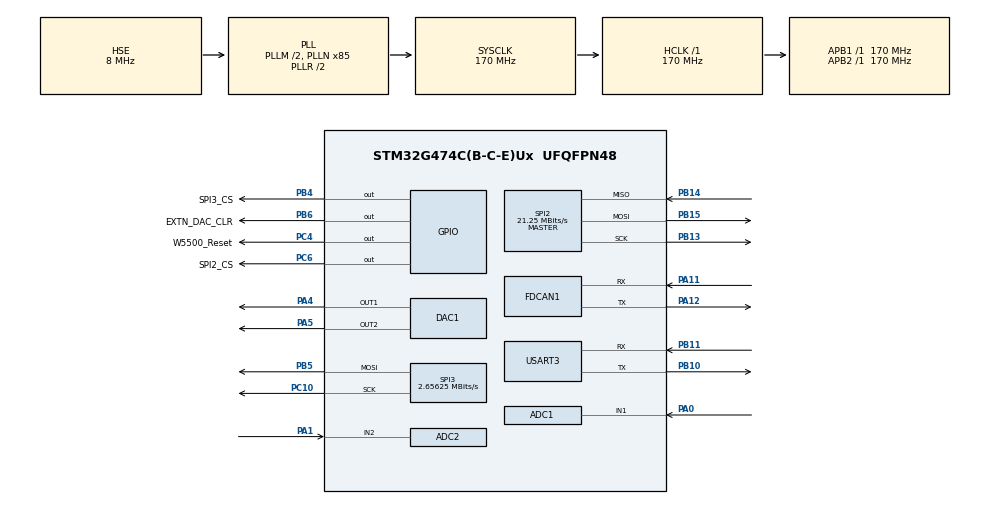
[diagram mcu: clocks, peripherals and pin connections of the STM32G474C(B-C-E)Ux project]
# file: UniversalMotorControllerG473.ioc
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ADC1.Channel-0\#ChannelRegularConversion=ADC_CHANNEL_1
ADC1.ClockPrescaler=ADC_CLOCK_ASYNC_DIV256
ADC1.ContinuousConvMode=ENABLE
ADC1.EOCSelection=ADC_EOC_SEQ_CONV
ADC1.NbrOfConversionFlag=1
ADC1.OffsetNumber-0\#ChannelRegularConversion=ADC_OFFSET_NONE
ADC1.Rank-0\#ChannelRegularConversion=1
ADC1.SamplingTime-0\#ChannelRegularConversion=ADC_SAMPLETIME_12CYCLES_5
ADC1.master=1
ADC2.Channel-0\#ChannelRegularConversion=ADC_CHANNEL_2
ADC2.ClockPrescaler=ADC_CLOCK_ASYNC_DIV256
ADC2.ContinuousConvMode=ENABLE
ADC2.DMAContinuousRequests=DISABLE
ADC2.EOCSelection=ADC_EOC_SEQ_CONV
ADC2.NbrOfConversionFlag=1
ADC2.OffsetNumber-0\#ChannelRegularConversion=ADC_OFFSET_NONE
ADC2.Rank-0\#ChannelRegularConversion=1
ADC2.SamplingTime-0\#ChannelRegularConversion=ADC_SAMPLETIME_12CYCLES_5
DAC1.DAC_Channel-DAC_OUT2=DAC_CHANNEL_2
Dma.ADC1.1.Direction=DMA_PERIPH_TO_MEMORY
Dma.ADC1.1.EventEnable=DISABLE
Dma.ADC1.1.Instance=DMA1_Channel2
Dma.ADC1.1.MemDataAlignment=DMA_MDATAALIGN_HALFWORD
Dma.ADC1.1.MemInc=DMA_MINC_ENABLE
Dma.ADC1.1.Mode=DMA_NORMAL
Dma.ADC1.1.PeriphDataAlignment=DMA_PDATAALIGN_HALFWORD
Dma.ADC1.1.PeriphInc=DMA_PINC_DISABLE
Dma.ADC1.1.Polarity=HAL_DMAMUX_REQ_GEN_RISING
Dma.ADC1.1.Priority=DMA_PRIORITY_LOW
Dma.ADC1.1.RequestNumber=1
Dma.ADC1.1.SignalID=NONE
Dma.ADC1.1.SyncEnable=DISABLE
Dma.ADC1.1.SyncPolarity=HAL_DMAMUX_SYNC_NO_EVENT
Dma.ADC1.1.SyncRequestNumber=1
Dma.ADC1.1.SyncSignalID=NONE
Dma.ADC2.0.Direction=DMA_PERIPH_TO_MEMORY
Dma.ADC2.0.EventEnable=ENABLE
Dma.ADC2.0.Instance=DMA1_Channel1
Dma.ADC2.0.MemDataAlignment=DMA_MDATAALIGN_HALFWORD
Dma.ADC2.0.MemInc=DMA_MINC_ENABLE
Dma.ADC2.0.Mode=DMA_NORMAL
Dma.ADC2.0.PeriphDataAlignment=DMA_PDATAALIGN_HALFWORD
Dma.ADC2.0.PeriphInc=DMA_PINC_DISABLE
Dma.ADC2.0.Polarity=HAL_DMAMUX_REQ_GEN_RISING
Dma.ADC2.0.Priority=DMA_PRIORITY_MEDIUM
Dma.ADC2.0.RequestNumber=1
Dma.ADC2.0.SignalID=NONE
Dma.ADC2.0.SyncEnable=DISABLE
Dma.ADC2.0.SyncPolarity=HAL_DMAMUX_SYNC_NO_EVENT
Dma.ADC2.0.SyncRequestNumber=1
Dma.ADC2.0.SyncSignalID=NONE
Dma.Request0=ADC2
Dma.Request1=ADC1
FDCAN1.AutoRetransmission=ENABLE
FDCAN1.CalculateBaudRateNominal=999999
FDCAN1.CalculateTimeBitNominal=1000
FDCAN1.CalculateTimeQuantumNominal=5.882352941176471
FDCAN1.DataPrescaler=10
FDCAN1.DataSyncJumpWidth=4
FDCAN1.DataTimeSeg1=12
FDCAN1.DataTimeSeg2=4
FDCAN1.FrameFormat=FDCAN_FRAME_FD_NO_BRS
FDCAN1.NominalPrescaler=1
FDCAN1.NominalSyncJumpWidth=26
FDCAN1.NominalTimeSeg1=143
FDCAN1.NominalTimeSeg2=26
FDCAN1.StdFiltersNbr=1
FREERTOS.Queues01=QueueMonitoring,16,uint32_t,0,Dynamic,NULL,NULL
FREERTOS.Tasks01=TaskMonitoring,15,512,RunTaskMonitoring,Default,NULL,Dynamic,NULL,NULL;TaskControl,40,512,RunTaskControl,Default,NULL,Dynamic,NULL,NULL;TaskMeasure,24,512,RunTaskMeasure,Default,NULL,Dynamic,NULL,NULL
FREERTOS.configENABLE_FPU=1
FREERTOS.configMINIMAL_STACK_SIZE=512
FREERTOS.configTOTAL_HEAP_SIZE=18000
FREERTOS.configUSE_NEWLIB_REENTRANT=1
Mcu.Family=STM32G4
Mcu.Name=STM32G474C(B-C-E)Ux
Mcu.Package=UFQFPN48
NVIC.ADC1_2_IRQn=true\:5\:0\:false\:false\:true\:true\:true\:true\:true
NVIC.DMA1_Channel1_IRQn=true\:5\:0\:false\:false\:true\:true\:false\:true\:true
NVIC.DMA1_Channel2_IRQn=true\:5\:0\:false\:false\:true\:true\:false\:true\:true
NVIC.DMAMUX_OVR_IRQn=true\:5\:0\:false\:false\:true\:true\:false\:true\:true
NVIC.FDCAN1_IT0_IRQn=true\:5\:0\:false\:false\:true\:true\:true\:true\:true
NVIC.FDCAN1_IT1_IRQn=true\:5\:0\:false\:false\:true\:true\:true\:true\:true
NVIC.PriorityGroup=NVIC_PRIORITYGROUP_4
NVIC.SPI2_IRQn=true\:5\:0\:false\:false\:true\:true\:true\:true\:true
NVIC.SPI3_IRQn=true\:5\:0\:false\:false\:true\:true\:true\:true\:true
NVIC.TIM1_UP_TIM16_IRQn=true\:5\:0\:false\:false\:true\:true\:true\:true\:true
NVIC.TIM6_DAC_IRQn=true\:5\:0\:false\:false\:true\:true\:true\:true\:true
NVIC.TIM7_DAC_IRQn=true\:15\:0\:false\:false\:true\:false\:false\:true\:true
NVIC.TimeBase=TIM7_DAC_IRQn
NVIC.TimeBaseIP=TIM7
NVIC.USART3_IRQn=true\:5\:0\:false\:false\:true\:true\:true\:true\:true
PA0.Mode=IN1-Single-Ended
PA0.Signal=ADC1_IN1
PA1.Mode=IN2-Single-Ended
PA1.Signal=ADC2_IN2
PA11.Mode=FDCAN_Activate
PA11.Signal=FDCAN1_RX
PA12.Mode=FDCAN_Activate
PA12.Signal=FDCAN1_TX
PA4.Signal=COMP_DAC11_group
PA5.Signal=COMP_DAC12_group
PB10.Mode=Asynchronous
PB10.Signal=USART3_TX
PB11.Mode=Asynchronous
PB11.Signal=USART3_RX
PB13.Mode=Full_Duplex_Master
PB13.Signal=SPI2_SCK
PB14.Mode=Full_Duplex_Master
PB14.Signal=SPI2_MISO
PB15.Mode=Full_Duplex_Master
PB15.Signal=SPI2_MOSI
PB4.GPIO_Label=SPI3_CS
PB4.Signal=GPIO_Output
PB5.Mode=TX_Only_Simplex_Unidirect_Master
PB5.Signal=SPI3_MOSI
PB6.GPIO_Label=EXTN_DAC_CLR
PB6.Signal=GPIO_Output
PC10.Mode=TX_Only_Simplex_Unidirect_Master
PC10.Signal=SPI3_SCK
PC4.GPIO_Label=W5500_Reset
PC4.Signal=GPIO_Output
PC6.GPIO_Label=SPI2_CS
PC6.Signal=GPIO_Output
PF0-OSC_IN.Mode=HSE-External-Oscillator
PF0-OSC_IN.Signal=RCC_OSC_IN
PF1-OSC_OUT.Mode=HSE-External-Oscillator
PF1-OSC_OUT.Signal=RCC_OSC_OUT
ProjectManager.HeapSize=0x800
ProjectManager.StackSize=0x1600
ProjectManager.TargetToolchain=STM32CubeIDE
RCC.ADC12Freq_Value=170000000
RCC.ADC345Freq_Value=170000000
RCC.AHBFreq_Value=170000000
RCC.APB1Freq_Value=170000000
RCC.APB1TimFreq_Value=170000000
RCC.APB2Freq_Value=170000000
RCC.APB2TimFreq_Value=170000000
RCC.CortexFreq_Value=170000000
RCC.EXTERNAL_CLOCK_VALUE=12288000
RCC.HCLKFreq_Value=170000000
RCC.HSE_VALUE=8000000
RCC.HSI48_VALUE=48000000
RCC.HSI_VALUE=16000000
RCC.LSE_VALUE=32768
RCC.PLLM=RCC_PLLM_DIV2
RCC.PLLN=85
RCC.PLLSourceVirtual=RCC_PLLSOURCE_HSE
RCC.SYSCLKFreq_VALUE=170000000
RCC.SYSCLKSource=RCC_SYSCLKSOURCE_PLLCLK
RCC.USBFreq_Value=170000000
RCC.VCOOutputFreq_Value=340000000
SH.COMP_DAC11_group.0=DAC1_OUT1,DAC_OUT1
SH.COMP_DAC12_group.0=DAC1_OUT2,DAC_OUT2
SPI2.BaudRatePrescaler=SPI_BAUDRATEPRESCALER_8
SPI2.CalculateBaudRate=21.25 MBits/s
SPI2.DataSize=SPI_DATASIZE_8BIT
SPI2.Direction=SPI_DIRECTION_2LINES
SPI2.Mode=SPI_MODE_MASTER
SPI2.VirtualType=VM_MASTER
SPI3.BaudRatePrescaler=SPI_BAUDRATEPRESCALER_64
SPI3.CLKPhase=SPI_PHASE_2EDGE
SPI3.CalculateBaudRate=2.65625 MBits/s
SPI3.DataSize=SPI_DATASIZE_8BIT
SPI3.Direction=SPI_DIRECTION_2LINES
SPI3.Mode=SPI_MODE_MASTER
SPI3.VirtualType=VM_MASTER
STMicroelectronics.X-CUBE-ALGOBUILD.1.4.0.LibraryCcDSPOoLibraryJjDSPOoLibrary=true
TIM1.AutoReloadPreload=TIM_AUTORELOAD_PRELOAD_ENABLE
TIM1.PeriodNoDither=10-1
TIM1.Prescaler=17
TIM1.TIM_MasterOutputTrigger=TIM_TRGO_UPDATE
TIM1.TIM_MasterOutputTrigger2=TIM_TRGO2_RESET
TIM6.AutoReloadPreload=TIM_AUTORELOAD_PRELOAD_ENABLE
TIM6.PeriodNoDither=1000 - 1
TIM6.Prescaler=10
TIM6.TIM_MasterOutputTrigger=TIM_TRGO_UPDATE
USART3.VirtualMode-Asynchronous=VM_ASYNC
VP_FREERTOS_VS_CMSIS_V2.Mode=CMSIS_V2
VP_STMicroelectronics.X-CUBE-ALGOBUILD_VS_DSPOoLibraryJjLibrary_1.4.0_1.4.0.Mode=DSPOoLibraryJjLibrary
VP_SYS_VS_DBSignals.Mode=DisableDeadBatterySignals
VP_SYS_VS_tim7.Mode=TIM7
VP_TIM1_VS_ClockSourceINT.Mode=Internal
VP_TIM4_VS_ClockSourceINT.Mode=Internal
VP_TIM6_VS_ClockSourceINT.Mode=Enable_Timer
board=custom

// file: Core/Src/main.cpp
/* USER CODE BEGIN Header */

/**
  ******************************************************************************
  * @file           : main.c
  * @brief          : Main program body
  ******************************************************************************
  * @attention
  *
  * Copyright (c) 2024 STMicroelectronics.
  * All rights reserved.
  *
  * This software is licensed under terms that can be found in the LICENSE file
  * in the root directory of this software component.
  * If no LICENSE file comes with this software, it is provided AS-IS.
  *
  ******************************************************************************
  */
/* USER CODE END Header */
#include "main.h"
#include "cmsis_os.h"

/* USER CODE BEGIN Includes */
#include "UtiliteFunctions.h"
//#include <cstring>
//#include <cstdio>
extern "C"
{
#include "socket.h"
#include "string.h"
#include "W5500/w5500.h"
}
#include <cmath>
#include <vector>
#include <array>

#include "DeviceSignalInterfaces.h"
#include "ControlClassesInternal.h"

#include "TCPInterface.h"
#include "AimingModules.h"
/* USER CODE END Includes */

/* USER CODE BEGIN PM */

//template<typename V, typename DEV_T, int N_C = 1>
/* USER CODE END PM */

ADC_HandleTypeDef hadc1;
ADC_HandleTypeDef hadc2;
DMA_HandleTypeDef hdma_adc1;
DMA_HandleTypeDef hdma_adc2;

DAC_HandleTypeDef hdac1;

FDCAN_HandleTypeDef hfdcan1;

SPI_HandleTypeDef hspi2;
SPI_HandleTypeDef hspi3;

TIM_HandleTypeDef htim1;
TIM_HandleTypeDef htim4;
TIM_HandleTypeDef htim6;

UART_HandleTypeDef huart3;

/* Definitions for TaskMonitoring */
osThreadId_t TaskMonitoringHandle;
const osThreadAttr_t TaskMonitoring_attributes = {
  .name = "TaskMonitoring",
  .stack_size = 512 * 4,
  .priority = (osPriority_t) osPriorityLow7
};
/* Definitions for TaskControl */
osThreadId_t TaskControlHandle;
const osThreadAttr_t TaskControl_attributes = {
  .name = "TaskControl",
  .stack_size = 512 * 4,
  .priority = (osPriority_t) osPriorityHigh
};
/* Definitions for TaskMeasure */
osThreadId_t TaskMeasureHandle;
const osThreadAttr_t TaskMeasure_attributes = {
  .name = "TaskMeasure",
  .stack_size = 512 * 4,
  .priority = (osPriority_t) osPriorityNormal
};
/* Definitions for QueueMonitoring */
osMessageQueueId_t QueueMonitoringHandle;
const osMessageQueueAttr_t QueueMonitoring_attributes = {
  .name = "QueueMonitoring"
};
/* USER CODE BEGIN PV */

osMessageQueueId_t QueueMessageCalibrationHandle;
const osMessageQueueAttr_t QueueMessageCalibration_attributes = {
  .name = "QueueMessageCalibration"
};

osMessageQueueId_t QueueMessagePositionStateHandle;
const osMessageQueueAttr_t QueueMessagePositionState_attributes = {
  .name = "QueueMessagePosition"
};

std::map<SPI_TypeDef*,bool*> FlagSwitchersSPI;
std::map<ADC_TypeDef*,DeviceTypeADC<1>::StateSwitcher*> StateSwitchersADC;

std::map<FDCAN_HandleTypeDef*,bool*> FlagSwitrchersCAN;

//===============================
//FDCAN TEST
//FDCAN_TxHeaderTypeDef   CanTxHeader;  //TO_DELTE
//FDCAN_RxHeaderTypeDef   CanRxHeader;  //TO_DELTE
//uint8_t               CanTxData[64];  //TO_DELTE
//uint8_t               CanRxData[64];  //TO_DELTE

//==========================================================================================
class CanConnectionInterface
{
public:
	explicit CanConnectionInterface(FDCAN_HandleTypeDef* CanDevice)
	{
		Device = CanDevice;
		initTransmit();
	}
FDCAN_TxHeaderTypeDef   CanTxHeader;
FDCAN_RxHeaderTypeDef   CanRxHeader;
uint8_t               CanTxData[8];
uint8_t               CanRxData[8];
FDCAN_HandleTypeDef* Device = nullptr;
bool FLAG_CAN_DATA_AVAILABLE = false;

int Result = 0;
CanConnectionInterface* connectionLinked = nullptr;
void linkModule(CanConnectionInterface* connection) { connectionLinked = connection; }

void initTransmit()
{
  CanTxHeader.Identifier = 0x1;
  CanTxHeader.IdType      = FDCAN_STANDARD_ID;
  CanTxHeader.TxFrameType = FDCAN_DATA_FRAME;
  CanTxHeader.DataLength  = FDCAN_DLC_BYTES_8;
  CanTxHeader.ErrorStateIndicator = FDCAN_ESI_ACTIVE;
  CanTxHeader.BitRateSwitch       = FDCAN_BRS_OFF;
  CanTxHeader.FDFormat            = FDCAN_CLASSIC_CAN;
  CanTxHeader.TxEventFifoControl  = FDCAN_NO_TX_EVENTS;
  CanTxHeader.MessageMarker = 0;
}

std::array<uint32_t,8> DLC_VECTOR = {FDCAN_DLC_BYTES_1, FDCAN_DLC_BYTES_2, FDCAN_DLC_BYTES_3, FDCAN_DLC_BYTES_4, FDCAN_DLC_BYTES_5, FDCAN_DLC_BYTES_6, FDCAN_DLC_BYTES_7, FDCAN_DLC_BYTES_8};
void sendData(uint8_t ID, uint8_t Size, uint8_t* Data)
{
  CanTxHeader.Identifier = ID;
  CanTxHeader.DataLength = DLC_VECTOR[Size-1];
  CanTxHeader.MessageMarker = 0;

  std::copy_n(Data, Size, CanTxData);
  Result = HAL_FDCAN_AddMessageToTxFifoQ(Device, &CanTxHeader, CanTxData);
  //Result = HAL_FDCAN_AddMessageToTxFifoQ(Device, &CanTxHeader, Data);
}

void receiveData()
{
	if(!FLAG_CAN_DATA_AVAILABLE) return; FLAG_CAN_DATA_AVAILABLE = false;
	HAL_FDCAN_GetRxMessage(Device, FDCAN_RX_FIFO0, &CanRxHeader, CanRxData);

	if(CanRxHeader.Identifier == TypeRegister<CommandSetPos<0>>::GetTypeID())
      CommandDispatcher<CommandSetPos<0>>::processDispatch((CommandSetPos<0>*)CanRxData);

	if(CanRxHeader.Identifier == TypeRegister<CommandSetPos<1>>::GetTypeID())
      CommandDispatcher<CommandSetPos<1>>::processDispatch((CommandSetPos<1>*)CanRxData);

	if(CanRxHeader.Identifier == TypeRegister<CommandDevice<0>>::GetTypeID())
      CommandDispatcher<CommandDevice<0>>::processDispatch((CommandDevice<0>*)CanRxData);

	if(CanRxHeader.Identifier == TypeRegister<CommandSetPosRotary>::GetTypeID())
      CommandDispatcher<CommandCheckConnection>::processDispatch((CommandCheckConnection*)CanRxData);
}

void transmitData()
{
	if(!FLAG_CAN_DATA_AVAILABLE) return; FLAG_CAN_DATA_AVAILABLE = false;

	HAL_FDCAN_GetRxMessage(Device, FDCAN_RX_FIFO0, &CanRxHeader, CanRxData);

	if(connectionLinked != nullptr) connectionLinked->sendData(CanRxHeader.Identifier, CanRxHeader.DataLength, CanRxData);
}

void exposeFlagTransmission(std::map<FDCAN_HandleTypeDef*,bool*>& Flags)
{
	Flags[Device] = &FLAG_CAN_DATA_AVAILABLE;
}

};

void HAL_FDCAN_RxFifo0Callback(FDCAN_HandleTypeDef *hfdcan, uint32_t RxFifo0ITs)
{
  if((RxFifo0ITs & FDCAN_IT_RX_FIFO0_NEW_MESSAGE) != RESET)
  {
    HAL_FDCAN_ActivateNotification(hfdcan, FDCAN_IT_RX_FIFO0_NEW_MESSAGE, 0);
   *FlagSwitrchersCAN[hfdcan] = true;
  }
}

//void HAL_FDCAN_RxFifo1Callback(FDCAN_HandleTypeDef *hfdcan, uint32_t RxFifo1ITs)
//{
//  if((RxFifo1ITs & FDCAN_IT_RX_FIFO1_NEW_MESSAGE) != RESET)
//  {
//    HAL_FDCAN_ActivateNotification(hfdcan, FDCAN_IT_RX_FIFO1_NEW_MESSAGE, 0) ;
//  }
//}

/* USER CODE END PV */

void SystemClock_Config(void);
static void MX_GPIO_Init(void);
static void MX_DMA_Init(void);
static void MX_DAC1_Init(void);
static void MX_SPI2_Init(void);
static void MX_SPI3_Init(void);
static void MX_TIM6_Init(void);
static void MX_USART3_UART_Init(void);
static void MX_TIM1_Init(void);
static void MX_TIM4_Init(void);
static void MX_ADC1_Init(void);
static void MX_ADC2_Init(void);
static void MX_FDCAN1_Init(void);
void RunTaskMonitoring(void *argument);
void RunTaskControl(void *argument);
void RunTaskMeasure(void *argument);

/* USER CODE BEGIN PFP */

//=========================================================================================
uint8_t ID0 = TypeRegister<CommandSetPosScanator>::RegisterType();
uint8_t ID1 = TypeRegister<CommandSetPosRotary>::RegisterType();
uint8_t ID2 = TypeRegister<CommandDeviceController>::RegisterType();
uint8_t ID3 = TypeRegister<CommandDeviceLaserPower>::RegisterType();
uint8_t ID4 = TypeRegister<CommandDeviceLaserPointer>::RegisterType();
uint8_t ID5 = TypeRegister<CommandDeviceFocusator>::RegisterType();

uint8_t ID2_0 = TypeRegister<MessageDeviceController>::RegisterType();
uint8_t ID2_1 = TypeRegister<MessageDeviceLaserPower>::RegisterType();
uint8_t ID2_2 = TypeRegister<MessageDeviceLaserPointer>::RegisterType();
uint8_t ID2_3 = TypeRegister<MessageDeviceFocusator>::RegisterType();

uint8_t ID3_0 = TypeRegister<CommandCalibration>::RegisterType();
uint8_t ID3_1 = TypeRegister<MessagePositionState>::RegisterType();
uint8_t ID3_2 = TypeRegister<CommandCheckConnection>::RegisterType();
uint8_t ID3_3 = TypeRegister<CommandCloseConnection>::RegisterType();

uint8_t ID3_4 = TypeRegister<MessageMeasure1>::RegisterType();

void printfRegisteredTypes()
{
  eprintf("REGISTER TYPE %d SIZE %d \r\n", TypeRegister<CommandSetPos<0>>::GetTypeID(), TypeRegister<CommandSetPosScanator>::GetTypeSize());
  eprintf("REGISTER TYPE %d SIZE %d \r\n", TypeRegister<CommandSetPos<1>>::GetTypeID(), TypeRegister<CommandSetPosRotary>::GetTypeSize());

  eprintf("REGISTER TYPE %d SIZE %d \r\n", TypeRegister<CommandDevice<0>>::GetTypeID(), TypeRegister<CommandDevice<0>>::GetTypeSize());
  eprintf("REGISTER TYPE %d SIZE %d \r\n", TypeRegister<CommandDevice<1>>::GetTypeID(), TypeRegister<CommandDevice<1>>::GetTypeSize());
  eprintf("REGISTER TYPE %d SIZE %d \r\n", TypeRegister<CommandDevice<2>>::GetTypeID(), TypeRegister<CommandDevice<2>>::GetTypeSize());
  eprintf("REGISTER TYPE %d SIZE %d \r\n", TypeRegister<CommandDevice<3>>::GetTypeID(), TypeRegister<CommandDevice<3>>::GetTypeSize());

  eprintf("REGISTER TYPE %d SIZE %d \r\n", TypeRegister<MessageDevice<0>>::GetTypeID(), TypeRegister<MessageDevice<0>>::GetTypeSize());
  eprintf("REGISTER TYPE %d SIZE %d \r\n", TypeRegister<MessageDevice<1>>::GetTypeID(), TypeRegister<MessageDevice<1>>::GetTypeSize());
  eprintf("REGISTER TYPE %d SIZE %d \r\n", TypeRegister<MessageDevice<2>>::GetTypeID(), TypeRegister<MessageDevice<2>>::GetTypeSize());
  eprintf("REGISTER TYPE %d SIZE %d \r\n", TypeRegister<MessageDevice<3>>::GetTypeID(), TypeRegister<MessageDevice<3>>::GetTypeSize());

  eprintf("REGISTER TYPE %d SIZE %d \r\n", TypeRegister<CommandCalibration>::GetTypeID(), TypeRegister<CommandCalibration>::GetTypeSize());
  eprintf("REGISTER TYPE %d SIZE %d \r\n", TypeRegister<MessagePositionState>::GetTypeID(), TypeRegister<MessagePositionState>::GetTypeSize());
  eprintf("REGISTER TYPE %d SIZE %d \r\n", TypeRegister<CommandCheckConnection>::GetTypeID(), TypeRegister<CommandCheckConnection>::GetTypeSize());

  eprintf("REGISTER TYPE %d SIZE %d \r\n", TypeRegister<MessageMeasure1>::GetTypeID(), TypeRegister<MessageMeasure1>::GetTypeSize());
}

void setPosDevice1(CommandSetPos<0>* command)
{
  int POS_X = command->POS_X;
  int POS_Y = command->POS_Y;
 eprintf("[GET COMMAND SCANATOR %d %d] \r\n", POS_X, POS_Y);
};
void setPosDevice2(CommandSetPos<1>* command)
{

  int POS_X = command->POS_X;
  int POS_Y = command->POS_Y;
 eprintf("[GET COMMAND ROTARY %d %d] \r\n", POS_X, POS_Y);
};

void setCommandDevice1(CommandDevice<0>* command)
{
 eprintf("[GET COMMAND CONTROLLER] \r\n");
};

void setCommandDevice2(CommandCheckConnection* command)
{
 eprintf("[CHECK CONNECTION \r\n]");
};

void initProcessingCommand()
{
	CommandDispatcher<CommandSetPos<0>>::setCallBack(setPosDevice1);
	CommandDispatcher<CommandSetPos<1>>::setCallBack(setPosDevice2);

	CommandDispatcher<CommandDevice<0>>::setCallBack(setCommandDevice1);
	CommandDispatcher<CommandCheckConnection>::setCallBack(setCommandDevice2);
}
//=========================================================================================

bool FLAG_MEASURE_THREAD_SUSPEND = false;

using DeviceTypeDACInternal     = DeviceDACControl<DAC_HandleTypeDef, uint16_t,1, DAC_INTERNAL>;
using DeviceTypeDACInternalDual = DeviceDACControl<DAC_HandleTypeDef, uint16_t,2, DAC_INTERNAL>;

using DeviceTypeDACExternal     = DeviceDACControl<SPI_HandleTypeDef, uint16_t,1, DAC_SPI_8653> ;
using DeviceTypeDACExternalDual = DeviceDACControl<SPI_HandleTypeDef, uint16_t,2, DAC_SPI_8653> ;

//=========================================================================================
MessageInternalMonitoring MessageMonitoringStatic;
//=========================================================================================
DeviceTypeADC<1> DeviceADC1{&hadc1,ADC_CHANNEL_1};
DeviceTypeADC<1> DeviceADC2{&hadc2,ADC_CHANNEL_2};

DeviceTypeDACInternal DeviceDACInternalChannel1{hdac1,DAC_CHANNEL_1};
DeviceTypeDACInternal DeviceDACInternalChannel2{hdac1,DAC_CHANNEL_2};

DeviceTypeDACInternalDual DeviceDACInternal{hdac1};
DeviceTypeDACExternalDual DeviceDACExternal{hspi3, std::make_pair(SPI3_CS_GPIO_Port, SPI3_CS_Pin)};

DeviceTypeConnectionUDP ConnectionRemote;
DeviceTypeScanator<DeviceTypeADC<1>, DeviceTypeDACInternalDual>
                        DeviceScanator{&DeviceADC1,&DeviceADC2,&DeviceDACInternal};
//=========================================================================================

ModuleTypeDelayMeasure<DeviceTypeConnectionUDP, DeviceTypeDACInternal, DeviceTypeDACInternal>
                                              ModuleDelayMeasureConnection
                                              { &ConnectionRemote,         //LOOP

                                                &DeviceDACInternalChannel1, //LOOP  MONITOR
                                                &DeviceDACInternalChannel2, //DELAY MONITOR
                                              };

ModuleTypeDelayMeasure<DeviceTypeDACExternal, DeviceTypeDACInternal, DeviceTypeDACInternal>
                                              ModuleDelayMeasureControlLoop
                                              { &DeviceDACExternal.Channel1, //LOOP

                                                 &DeviceDACInternalChannel1, //LOOP  MONITOR
                                                 &DeviceDACInternalChannel2, //DELAY MONITOR
                                              };

ModuleTypeResponceMeasure<DeviceTypeADC<1>, DeviceTypeDACInternal>
                                              ModuleResponceMeasure
                                              { &DeviceADC1,
                                                &DeviceDACInternalChannel1,
                                              };
//=========================================================================

void PrintStartMessages()
{
  uint16_t SysFreq = HAL_RCC_GetSysClockFreq()/1000000;

  eprintf(" [ SCANATOR CONTROL ] \r\n");       HAL_Delay(100);
  eprintf(" [ SYS FREQ:  %d ] \r\n", SysFreq); HAL_Delay(100);
  eprintf(" [ ADC CHANNELS:  %d %d] \r\n", ADC_CHANNEL_1, ADC_CHANNEL_2); HAL_Delay(100);
  eprintf(" [ ADC CHANNELS:  %d %d] \r\n", DeviceADC1.DeviceChannel, DeviceADC2.DeviceChannel); HAL_Delay(100);
};
/* USER CODE END PFP */

/* USER CODE BEGIN 0 */

uint64_t MicrosecondsCounter = 0;

void TimerMicrosecondsTickISR() { MicrosecondsCounter++; }

void TimerControlDirectISR()
{
}

/* USER CODE END 0 */

int main(void)
{

  /* MCU Configuration--------------------------------------------------------*/

  /* Reset of all peripherals, Initializes the Flash interface and the Systick. */
  HAL_Init();

  /* Configure the system clock */
  SystemClock_Config();

  /* USER CODE BEGIN SysInit */
  HAL_Delay(4000);
  /* USER CODE END SysInit */

  /* Initialize all configured peripherals */
  MX_GPIO_Init();
  MX_DMA_Init();
  MX_DAC1_Init();
  MX_SPI2_Init();
  MX_SPI3_Init();
  MX_TIM6_Init();
  MX_USART3_UART_Init();
  MX_TIM1_Init();
  MX_TIM4_Init();
  MX_ADC1_Init();
  MX_ADC2_Init();
  MX_FDCAN1_Init();
  /* USER CODE BEGIN 2 */

  PrintStartMessages();

  DeviceDACInternal.Init();

  DeviceADC1.Init();
  DeviceADC2.Init();
  DeviceADC1.ExposeStateSwitcher(StateSwitchersADC);
  DeviceADC2.ExposeStateSwitcher(StateSwitchersADC);
  //DeviceDACExternal.Init();

  //======================================================================================================
  //FDCAN INIT BEGIN
  if(HAL_FDCAN_Start(&hfdcan1) != HAL_OK) Error_Handler();
  if(HAL_FDCAN_ActivateNotification(&hfdcan1, FDCAN_IT_RX_FIFO0_NEW_MESSAGE, 0) != HAL_OK) Error_Handler();

  //======================================================================================================

  /* USER CODE END 2 */

  /* Init scheduler */
  osKernelInitialize();

  /* Create the queue(s) */
  /* creation of QueueMonitoring */
  QueueMonitoringHandle = osMessageQueueNew (16, sizeof(uint32_t), &QueueMonitoring_attributes);

  /* USER CODE BEGIN RTOS_QUEUES */
  QueueMessageCalibrationHandle = osMessageQueueNew (4, sizeof(CommandCalibration), &QueueMessageCalibration_attributes);
  QueueMessagePositionStateHandle = osMessageQueueNew (1, sizeof(MessagePositionState), &QueueMessagePositionState_attributes);

  /* add queues, ... */
  /* USER CODE END RTOS_QUEUES */

  /* Create the thread(s) */
  /* creation of TaskMonitoring */
  //TaskMonitoringHandle = osThreadNew(RunTaskMonitoring, NULL, &TaskMonitoring_attributes);

  /* creation of TaskControl */
  TaskControlHandle = osThreadNew(RunTaskControl, NULL, &TaskControl_attributes);

  /* creation of TaskMeasure */
  //TaskMeasureHandle = osThreadNew(RunTaskMeasure, NULL, &TaskMeasure_attributes);

  /* Start scheduler */
  osKernelStart();

  /* We should never get here as control is now taken by the scheduler */

  /* Infinite loop */
  while (1)
  {

  }
}

void SystemClock_Config(void)
{
  RCC_OscInitTypeDef RCC_OscInitStruct = {0};
  RCC_ClkInitTypeDef RCC_ClkInitStruct = {0};

  /** Configure the main internal regulator output voltage
  */
  HAL_PWREx_ControlVoltageScaling(PWR_REGULATOR_VOLTAGE_SCALE1_BOOST);

  /** Initializes the RCC Oscillators according to the specified parameters
  * in the RCC_OscInitTypeDef structure.
  */
  RCC_OscInitStruct.OscillatorType = RCC_OSCILLATORTYPE_HSE;
  RCC_OscInitStruct.HSEState = RCC_HSE_ON;
  RCC_OscInitStruct.PLL.PLLState = RCC_PLL_ON;
  RCC_OscInitStruct.PLL.PLLSource = RCC_PLLSOURCE_HSE;
  RCC_OscInitStruct.PLL.PLLM = RCC_PLLM_DIV2;
  RCC_OscInitStruct.PLL.PLLN = 85;
  RCC_OscInitStruct.PLL.PLLP = RCC_PLLP_DIV2;
  RCC_OscInitStruct.PLL.PLLQ = RCC_PLLQ_DIV2;
  RCC_OscInitStruct.PLL.PLLR = RCC_PLLR_DIV2;
  if (HAL_RCC_OscConfig(&RCC_OscInitStruct) != HAL_OK)
  {
    Error_Handler();
  }

  /** Initializes the CPU, AHB and APB buses clocks
  */
  RCC_ClkInitStruct.ClockType = RCC_CLOCKTYPE_HCLK|RCC_CLOCKTYPE_SYSCLK
                              |RCC_CLOCKTYPE_PCLK1|RCC_CLOCKTYPE_PCLK2;
  RCC_ClkInitStruct.SYSCLKSource = RCC_SYSCLKSOURCE_PLLCLK;
  RCC_ClkInitStruct.AHBCLKDivider = RCC_SYSCLK_DIV1;
  RCC_ClkInitStruct.APB1CLKDivider = RCC_HCLK_DIV1;
  RCC_ClkInitStruct.APB2CLKDivider = RCC_HCLK_DIV1;

  if (HAL_RCC_ClockConfig(&RCC_ClkInitStruct, FLASH_LATENCY_4) != HAL_OK)
  {
    Error_Handler();
  }
}

static void MX_ADC1_Init(void)
{

  ADC_MultiModeTypeDef multimode = {0};
  ADC_ChannelConfTypeDef sConfig = {0};

  /** Common config
  */
  hadc1.Instance = ADC1;
  hadc1.Init.ClockPrescaler = ADC_CLOCK_ASYNC_DIV256;
  hadc1.Init.Resolution = ADC_RESOLUTION_12B;
  hadc1.Init.DataAlign = ADC_DATAALIGN_RIGHT;
  hadc1.Init.GainCompensation = 0;
  hadc1.Init.ScanConvMode = ADC_SCAN_DISABLE;
  hadc1.Init.EOCSelection = ADC_EOC_SEQ_CONV;
  hadc1.Init.LowPowerAutoWait = DISABLE;
  hadc1.Init.ContinuousConvMode = ENABLE;
  hadc1.Init.NbrOfConversion = 1;
  hadc1.Init.DiscontinuousConvMode = DISABLE;
  hadc1.Init.ExternalTrigConv = ADC_SOFTWARE_START;
  hadc1.Init.ExternalTrigConvEdge = ADC_EXTERNALTRIGCONVEDGE_NONE;
  hadc1.Init.DMAContinuousRequests = DISABLE;
  hadc1.Init.Overrun = ADC_OVR_DATA_PRESERVED;
  hadc1.Init.OversamplingMode = DISABLE;
  if (HAL_ADC_Init(&hadc1) != HAL_OK)
  {
    Error_Handler();
  }

  /** Configure the ADC multi-mode
  */
  multimode.Mode = ADC_MODE_INDEPENDENT;
  if (HAL_ADCEx_MultiModeConfigChannel(&hadc1, &multimode) != HAL_OK)
  {
    Error_Handler();
  }

  /** Configure Regular Channel
  */
  sConfig.Channel = ADC_CHANNEL_1;
  sConfig.Rank = ADC_REGULAR_RANK_1;
  sConfig.SamplingTime = ADC_SAMPLETIME_12CYCLES_5;
  sConfig.SingleDiff = ADC_SINGLE_ENDED;
  sConfig.OffsetNumber = ADC_OFFSET_NONE;
  sConfig.Offset = 0;
  if (HAL_ADC_ConfigChannel(&hadc1, &sConfig) != HAL_OK)
  {
    Error_Handler();
  }

}

static void MX_ADC2_Init(void)
{

  ADC_ChannelConfTypeDef sConfig = {0};

  /** Common config
  */
  hadc2.Instance = ADC2;
  hadc2.Init.ClockPrescaler = ADC_CLOCK_ASYNC_DIV256;
  hadc2.Init.Resolution = ADC_RESOLUTION_12B;
  hadc2.Init.DataAlign = ADC_DATAALIGN_RIGHT;
  hadc2.Init.GainCompensation = 0;
  hadc2.Init.ScanConvMode = ADC_SCAN_DISABLE;
  hadc2.Init.EOCSelection = ADC_EOC_SEQ_CONV;
  hadc2.Init.LowPowerAutoWait = DISABLE;
  hadc2.Init.ContinuousConvMode = ENABLE;
  hadc2.Init.NbrOfConversion = 1;
  hadc2.Init.DiscontinuousConvMode = DISABLE;
  hadc2.Init.ExternalTrigConv = ADC_SOFTWARE_START;
  hadc2.Init.ExternalTrigConvEdge = ADC_EXTERNALTRIGCONVEDGE_NONE;
  hadc2.Init.DMAContinuousRequests = DISABLE;
  hadc2.Init.Overrun = ADC_OVR_DATA_PRESERVED;
  hadc2.Init.OversamplingMode = DISABLE;
  if (HAL_ADC_Init(&hadc2) != HAL_OK)
  {
    Error_Handler();
  }

  /** Configure Regular Channel
  */
  sConfig.Channel = ADC_CHANNEL_2;
  sConfig.Rank = ADC_REGULAR_RANK_1;
  sConfig.SamplingTime = ADC_SAMPLETIME_12CYCLES_5;
  sConfig.SingleDiff = ADC_SINGLE_ENDED;
  sConfig.OffsetNumber = ADC_OFFSET_NONE;
  sConfig.Offset = 0;
  if (HAL_ADC_ConfigChannel(&hadc2, &sConfig) != HAL_OK)
  {
    Error_Handler();
  }

}

static void MX_DAC1_Init(void)
{

  DAC_ChannelConfTypeDef sConfig = {0};

  /** DAC Initialization
  */
  hdac1.Instance = DAC1;
  if (HAL_DAC_Init(&hdac1) != HAL_OK)
  {
    Error_Handler();
  }

  /** DAC channel OUT1 config
  */
  sConfig.DAC_HighFrequency = DAC_HIGH_FREQUENCY_INTERFACE_MODE_AUTOMATIC;
  sConfig.DAC_DMADoubleDataMode = DISABLE;
  sConfig.DAC_SignedFormat = DISABLE;
  sConfig.DAC_SampleAndHold = DAC_SAMPLEANDHOLD_DISABLE;
  sConfig.DAC_Trigger = DAC_TRIGGER_NONE;
  sConfig.DAC_Trigger2 = DAC_TRIGGER_NONE;
  sConfig.DAC_OutputBuffer = DAC_OUTPUTBUFFER_ENABLE;
  sConfig.DAC_ConnectOnChipPeripheral = DAC_CHIPCONNECT_EXTERNAL;
  sConfig.DAC_UserTrimming = DAC_TRIMMING_FACTORY;
  if (HAL_DAC_ConfigChannel(&hdac1, &sConfig, DAC_CHANNEL_1) != HAL_OK)
  {
    Error_Handler();
  }

  /** DAC channel OUT2 config
  */
  if (HAL_DAC_ConfigChannel(&hdac1, &sConfig, DAC_CHANNEL_2) != HAL_OK)
  {
    Error_Handler();
  }

}

static void MX_FDCAN1_Init(void)
{

  hfdcan1.Instance = FDCAN1;
  hfdcan1.Init.ClockDivider = FDCAN_CLOCK_DIV1;
  hfdcan1.Init.FrameFormat = FDCAN_FRAME_CLASSIC;
  hfdcan1.Init.Mode = FDCAN_MODE_NORMAL;
  hfdcan1.Init.AutoRetransmission = ENABLE;
  hfdcan1.Init.TransmitPause = DISABLE;
  hfdcan1.Init.ProtocolException = DISABLE;
  hfdcan1.Init.NominalPrescaler = 1;
  hfdcan1.Init.NominalSyncJumpWidth = 26;
  hfdcan1.Init.NominalTimeSeg1 = 143;
  hfdcan1.Init.NominalTimeSeg2 = 26;
  hfdcan1.Init.DataPrescaler = 10;
  hfdcan1.Init.DataSyncJumpWidth = 4;
  hfdcan1.Init.DataTimeSeg1 = 12;
  hfdcan1.Init.DataTimeSeg2 = 4;
  hfdcan1.Init.StdFiltersNbr = 2;
  hfdcan1.Init.ExtFiltersNbr = 0;
  hfdcan1.Init.TxFifoQueueMode = FDCAN_TX_FIFO_OPERATION;
  if (HAL_FDCAN_Init(&hfdcan1) != HAL_OK)
  {
    Error_Handler();
  }
  /* USER CODE BEGIN FDCAN1_Init 2 */

  FDCAN_FilterTypeDef sFilterConfig;

  sFilterConfig.IdType = FDCAN_STANDARD_ID;
  sFilterConfig.FilterIndex = 0;
  sFilterConfig.FilterType = FDCAN_FILTER_MASK;
  sFilterConfig.FilterConfig = FDCAN_FILTER_TO_RXFIFO0;
  sFilterConfig.FilterID1 = 0x32;
  sFilterConfig.FilterID2 = 0x32;
      eprintf("CAN FILTER CONFIG %d \r\n", 0x32);
  if (HAL_FDCAN_ConfigFilter(&hfdcan1, &sFilterConfig) != HAL_OK)
  {
      eprintf("CAN FILTER CONFIG ERROR %d \r\n", hfdcan1.ErrorCode);
	  Error_Handler();
  }

  sFilterConfig.IdType = FDCAN_STANDARD_ID;
  sFilterConfig.FilterIndex = 1;
  sFilterConfig.FilterType = FDCAN_FILTER_MASK;
  sFilterConfig.FilterConfig = FDCAN_FILTER_TO_RXFIFO0;
  sFilterConfig.FilterID1 = 0x33;
  sFilterConfig.FilterID2 = 0x33;
      eprintf("CAN FILTER CONFIG %d \r\n", 0x33);
  if (HAL_FDCAN_ConfigFilter(&hfdcan1, &sFilterConfig) != HAL_OK)
  {
      eprintf("CAN FILTER CONFIG ERROR %d \r\n", hfdcan1.ErrorCode);
	  Error_Handler();
  }
  /* USER CODE END FDCAN1_Init 2 */

}

static void MX_SPI2_Init(void)
{

  /* SPI2 parameter configuration*/
  hspi2.Instance = SPI2;
  hspi2.Init.Mode = SPI_MODE_MASTER;
  hspi2.Init.Direction = SPI_DIRECTION_2LINES;
  hspi2.Init.DataSize = SPI_DATASIZE_8BIT;
  hspi2.Init.CLKPolarity = SPI_POLARITY_LOW;
  hspi2.Init.CLKPhase = SPI_PHASE_1EDGE;
  hspi2.Init.NSS = SPI_NSS_SOFT;
  hspi2.Init.BaudRatePrescaler = SPI_BAUDRATEPRESCALER_8;
  hspi2.Init.FirstBit = SPI_FIRSTBIT_MSB;
  hspi2.Init.TIMode = SPI_TIMODE_DISABLE;
  hspi2.Init.CRCCalculation = SPI_CRCCALCULATION_DISABLE;
  hspi2.Init.CRCPolynomial = 7;
  hspi2.Init.CRCLength = SPI_CRC_LENGTH_DATASIZE;
  hspi2.Init.NSSPMode = SPI_NSS_PULSE_ENABLE;
  if (HAL_SPI_Init(&hspi2) != HAL_OK)
  {
    Error_Handler();
  }

}

static void MX_SPI3_Init(void)
{

  /* SPI3 parameter configuration*/
  hspi3.Instance = SPI3;
  hspi3.Init.Mode = SPI_MODE_MASTER;
  hspi3.Init.Direction = SPI_DIRECTION_2LINES;
  hspi3.Init.DataSize = SPI_DATASIZE_8BIT;
  hspi3.Init.CLKPolarity = SPI_POLARITY_LOW;
  hspi3.Init.CLKPhase = SPI_PHASE_2EDGE;
  hspi3.Init.NSS = SPI_NSS_SOFT;
  hspi3.Init.BaudRatePrescaler = SPI_BAUDRATEPRESCALER_64;
  hspi3.Init.FirstBit = SPI_FIRSTBIT_MSB;
  hspi3.Init.TIMode = SPI_TIMODE_DISABLE;
  hspi3.Init.CRCCalculation = SPI_CRCCALCULATION_DISABLE;
  hspi3.Init.CRCPolynomial = 7;
  hspi3.Init.CRCLength = SPI_CRC_LENGTH_DATASIZE;
  hspi3.Init.NSSPMode = SPI_NSS_PULSE_DISABLE;
  if (HAL_SPI_Init(&hspi3) != HAL_OK)
  {
    Error_Handler();
  }

}

static void MX_TIM1_Init(void)
{

  TIM_ClockConfigTypeDef sClockSourceConfig = {0};
  TIM_MasterConfigTypeDef sMasterConfig = {0};

  htim1.Instance = TIM1;
  htim1.Init.Prescaler = 17;
  htim1.Init.CounterMode = TIM_COUNTERMODE_UP;
  htim1.Init.Period = 9;
  htim1.Init.ClockDivision = TIM_CLOCKDIVISION_DIV1;
  htim1.Init.RepetitionCounter = 0;
  htim1.Init.AutoReloadPreload = TIM_AUTORELOAD_PRELOAD_ENABLE;
  if (HAL_TIM_Base_Init(&htim1) != HAL_OK)
  {
    Error_Handler();
  }
  sClockSourceConfig.ClockSource = TIM_CLOCKSOURCE_INTERNAL;
  if (HAL_TIM_ConfigClockSource(&htim1, &sClockSourceConfig) != HAL_OK)
  {
    Error_Handler();
  }
  sMasterConfig.MasterOutputTrigger = TIM_TRGO_UPDATE;
  sMasterConfig.MasterOutputTrigger2 = TIM_TRGO2_RESET;
  sMasterConfig.MasterSlaveMode = TIM_MASTERSLAVEMODE_DISABLE;
  if (HAL_TIMEx_MasterConfigSynchronization(&htim1, &sMasterConfig) != HAL_OK)
  {
    Error_Handler();
  }

}

static void MX_TIM4_Init(void)
{

  TIM_ClockConfigTypeDef sClockSourceConfig = {0};
  TIM_MasterConfigTypeDef sMasterConfig = {0};

  htim4.Instance = TIM4;
  htim4.Init.Prescaler = 0;
  htim4.Init.CounterMode = TIM_COUNTERMODE_UP;
  htim4.Init.Period = 65535;
  htim4.Init.ClockDivision = TIM_CLOCKDIVISION_DIV1;
  htim4.Init.AutoReloadPreload = TIM_AUTORELOAD_PRELOAD_DISABLE;
  if (HAL_TIM_Base_Init(&htim4) != HAL_OK)
  {
    Error_Handler();
  }
  sClockSourceConfig.ClockSource = TIM_CLOCKSOURCE_INTERNAL;
  if (HAL_TIM_ConfigClockSource(&htim4, &sClockSourceConfig) != HAL_OK)
  {
    Error_Handler();
  }
  sMasterConfig.MasterOutputTrigger = TIM_TRGO_RESET;
  sMasterConfig.MasterSlaveMode = TIM_MASTERSLAVEMODE_DISABLE;
  if (HAL_TIMEx_MasterConfigSynchronization(&htim4, &sMasterConfig) != HAL_OK)
  {
    Error_Handler();
  }

}

static void MX_TIM6_Init(void)
{

  TIM_MasterConfigTypeDef sMasterConfig = {0};

  htim6.Instance = TIM6;
  htim6.Init.Prescaler = 10;
  htim6.Init.CounterMode = TIM_COUNTERMODE_UP;
  htim6.Init.Period = 999;
  htim6.Init.AutoReloadPreload = TIM_AUTORELOAD_PRELOAD_ENABLE;
  if (HAL_TIM_Base_Init(&htim6) != HAL_OK)
  {
    Error_Handler();
  }
  sMasterConfig.MasterOutputTrigger = TIM_TRGO_UPDATE;
  sMasterConfig.MasterSlaveMode = TIM_MASTERSLAVEMODE_DISABLE;
  if (HAL_TIMEx_MasterConfigSynchronization(&htim6, &sMasterConfig) != HAL_OK)
  {
    Error_Handler();
  }

}

static void MX_USART3_UART_Init(void)
{

  huart3.Instance = USART3;
  huart3.Init.BaudRate = 115200;
  huart3.Init.WordLength = UART_WORDLENGTH_8B;
  huart3.Init.StopBits = UART_STOPBITS_1;
  huart3.Init.Parity = UART_PARITY_NONE;
  huart3.Init.Mode = UART_MODE_TX_RX;
  huart3.Init.HwFlowCtl = UART_HWCONTROL_NONE;
  huart3.Init.OverSampling = UART_OVERSAMPLING_16;
  huart3.Init.OneBitSampling = UART_ONE_BIT_SAMPLE_DISABLE;
  huart3.Init.ClockPrescaler = UART_PRESCALER_DIV1;
  huart3.AdvancedInit.AdvFeatureInit = UART_ADVFEATURE_NO_INIT;
  if (HAL_UART_Init(&huart3) != HAL_OK)
  {
    Error_Handler();
  }
  if (HAL_UARTEx_SetTxFifoThreshold(&huart3, UART_TXFIFO_THRESHOLD_1_8) != HAL_OK)
  {
    Error_Handler();
  }
  if (HAL_UARTEx_SetRxFifoThreshold(&huart3, UART_RXFIFO_THRESHOLD_1_8) != HAL_OK)
  {
    Error_Handler();
  }
  if (HAL_UARTEx_DisableFifoMode(&huart3) != HAL_OK)
  {
    Error_Handler();
  }

}

static void MX_DMA_Init(void)
{

  /* DMA controller clock enable */
  __HAL_RCC_DMAMUX1_CLK_ENABLE();
  __HAL_RCC_DMA1_CLK_ENABLE();

  /* DMA interrupt init */
  /* DMA1_Channel1_IRQn interrupt configuration */
  HAL_NVIC_SetPriority(DMA1_Channel1_IRQn, 5, 0);
  HAL_NVIC_EnableIRQ(DMA1_Channel1_IRQn);
  /* DMA1_Channel2_IRQn interrupt configuration */
  HAL_NVIC_SetPriority(DMA1_Channel2_IRQn, 5, 0);
  HAL_NVIC_EnableIRQ(DMA1_Channel2_IRQn);
  /* DMAMUX_OVR_IRQn interrupt configuration */
  HAL_NVIC_SetPriority(DMAMUX_OVR_IRQn, 5, 0);
  HAL_NVIC_EnableIRQ(DMAMUX_OVR_IRQn);

}

static void MX_GPIO_Init(void)
{
  GPIO_InitTypeDef GPIO_InitStruct = {0};

  /* GPIO Ports Clock Enable */
  __HAL_RCC_GPIOF_CLK_ENABLE();
  __HAL_RCC_GPIOA_CLK_ENABLE();
  __HAL_RCC_GPIOC_CLK_ENABLE();
  __HAL_RCC_GPIOB_CLK_ENABLE();

  /*Configure GPIO pin Output Level */
  HAL_GPIO_WritePin(GPIOC, W5500_Reset_Pin|SPI2_CS_Pin, GPIO_PIN_RESET);

  /*Configure GPIO pin Output Level */
  HAL_GPIO_WritePin(GPIOB, SPI3_CS_Pin|EXTN_DAC_CLR_Pin, GPIO_PIN_RESET);

  /*Configure GPIO pins : W5500_Reset_Pin SPI2_CS_Pin */
  GPIO_InitStruct.Pin = W5500_Reset_Pin|SPI2_CS_Pin;
  GPIO_InitStruct.Mode = GPIO_MODE_OUTPUT_PP;
  GPIO_InitStruct.Pull = GPIO_NOPULL;
  GPIO_InitStruct.Speed = GPIO_SPEED_FREQ_LOW;
  HAL_GPIO_Init(GPIOC, &GPIO_InitStruct);

  /*Configure GPIO pins : SPI3_CS_Pin EXTN_DAC_CLR_Pin */
  GPIO_InitStruct.Pin = SPI3_CS_Pin|EXTN_DAC_CLR_Pin;
  GPIO_InitStruct.Mode = GPIO_MODE_OUTPUT_PP;
  GPIO_InitStruct.Pull = GPIO_NOPULL;
  GPIO_InitStruct.Speed = GPIO_SPEED_FREQ_LOW;
  HAL_GPIO_Init(GPIOB, &GPIO_InitStruct);

}

/* USER CODE BEGIN 4 */
void HAL_SPI_TxCpltCallback(SPI_HandleTypeDef * hspi)
{
  if(FlagSwitchersSPI.empty()) return;

  *FlagSwitchersSPI[hspi->Instance] = true;
}

void HAL_ADC_ConvCpltCallback(ADC_HandleTypeDef* hadc)
{
   *StateSwitchersADC[hadc->Instance] = DeviceTypeADC<1>::StateSwitcher::SignalFillEnd;
}

void HAL_ADC_ConvHalfCpltCallback(ADC_HandleTypeDef* hadc)
{
   *StateSwitchersADC[hadc->Instance] = DeviceTypeADC<1>::StateSwitcher::SignalFillTop;
}

/* USER CODE END 4 */

void RunTaskMonitoring(void *argument)
{
  /* USER CODE BEGIN 5 */
  /* Infinite loop */
  eprintf("[START MONITOR TASK] \r\n");

  /* Infinite loop */
  for(;;)
  {

	//if(FLAG_CAN_DATA_AVAILABLE)
	//{
    //   FLAG_CAN_DATA_AVAILABLE = false;

    //HAL_FDCAN_GetRxMessage(&hfdcan1, FDCAN_RX_FIFO0, &CanRxHeader, CanRxData);
    //eprintf("[ GET MESSAGE %d : %d %d %d %d] \r\n", CanRxHeader.Identifier, CanRxData[0], CanRxData[1], CanRxData[2], CanRxData[3]);
	//}
    osDelay(1);

  }
  /* USER CODE END 5 */
}

/* USER CODE BEGIN Header_RunTaskControl */
void ADCTest()
{
  uint16_t Value1 = 0;
  uint16_t Value2 = 0;
  DeviceADC1.SetModeReady();
  DeviceADC2.SetModeReady();

  while(true)
  {
    Value1 = DeviceADC1.GetValue();
    Value2 = DeviceADC2.GetValue();
    eprintf("[ ADC TEST ] %d  %d  \r\n", Value1, Value2);
    osDelay(500);
  }

};

void DAC_SinusGenerateTest()
{
  //====================================
  uint16_t DAC_VALUE = 0;
  uint16_t DAC_AMPLITUDE = 2000;
  float ValueCounter = 0;
  uint16_t PERIOD = 360/2;
  std::pair<uint16_t,uint16_t> DeviceDACSignal;
  uint8_t DelayTime = 1;
  //====================================

  while(true)
  {
    ValueCounter++; if(ValueCounter == PERIOD) ValueCounter = 0;
    DAC_VALUE = DAC_AMPLITUDE + DAC_AMPLITUDE*std::sin(ValueCounter*2*M_PI/PERIOD);

                    DeviceDACSignal.first = DAC_VALUE;
                    DeviceDACSignal.second = DAC_VALUE/2;

           DeviceDACSignal | DeviceDACInternal;
          //DeviceDACExternal.SetValue(DeviceDACSignal);
          //DeviceDACInternal.SetCoord(DeviceDACSignal); osDelay(DelayTime);
          //DeviceDACInternalChannel1.SetValue(DeviceDACSignal.first);
          //DeviceDACInternalChannel2.SetValue(DeviceDACSignal.second);
          //DeviceDACSignal.first | DeviceDACInternalChannel1;
          //DeviceDACSignal.second | DeviceDACInternalChannel2;

            osDelay(DelayTime);
  }
}

void DAC_SinusGenerateTestStep(int& PhaseCounter, uint16_t& DAC_VALUE)
{
  PhaseCounter++; if(PhaseCounter == 360) PhaseCounter = 0;
  DAC_VALUE = 1500 + 1500*std::sin(4*PhaseCounter*2*M_PI/360);
  DAC_VALUE | DeviceDACInternalChannel1;
}

void InitMessageProcessing(DispatcherType* Dispatcher)
{
   CommandSetPosScanator* CommandAiming   = nullptr;
    MessagePositionState* MessagePosition = nullptr;

    std::pair<uint16_t,uint16_t> ControlOutputSignal;

    Dispatcher->AppendCallback<CommandSetPosScanator> ( [CommandAiming, ControlOutputSignal](MessageType& Message) mutable
    {
       CommandAiming = DispatcherType::ExtractData<CommandSetPosScanator>(&Message);
       ControlOutputSignal.first  =  CommandAiming->POS_X;
       ControlOutputSignal.second = -CommandAiming->POS_Y;
       ControlOutputSignal | DeviceDACInternal;

       //*MessageAiming | DeviceScanator;

       //eprintf("[ GET AIMING MESSAGE %d %d] \r\n", (int)MessageAiming->Channel1.Position,
       //                                            (int)MessageAiming->Channel2.Position);
    });

    Dispatcher->AppendCallback<MessagePositionState> ( [MessagePosition](MessageType& Message) mutable
    {
        MessagePosition = DispatcherType::ExtractData<MessagePositionState>(&Message);
       *MessagePosition | ModuleDelayMeasureConnection;
    });

    Dispatcher->AppendCallback<CommandCalibration> ( [](MessageType& Message)
    {
       auto Command= DispatcherType::ExtractData<CommandCalibration>(&Message);

       if(Command->NodeType == MODULE_TYPE_DELAY_MEASURE) *Command | ModuleDelayMeasureConnection;

       if(Command->NodeType == MODULE_TYPE_RESPONCE_MEASURE)
	     osMessageQueuePut(QueueMessageCalibrationHandle, Command, 0, 0);

       if(Command->NodeType == MODULE_TYPE_RESPONCE_MEASURE  && FLAG_MEASURE_THREAD_SUSPEND)
       {
        osThreadResume(TaskMeasureHandle);  FLAG_MEASURE_THREAD_SUSPEND = false; eprintf("MEASURE TASK RESUME \r\n");
       }
    });

    Dispatcher->AppendCallback<CommandDevice<0>> ( [](MessageType& Message)
    {
       auto Command = DispatcherType::ExtractData<CommandDeviceController>(&Message);

         if(Command->DeviceID == DEVICE_TYPE_SCANATOR) *Command | DeviceScanator;

    });

    Dispatcher->AppendCallback<CommandCheckConnection> ( [](MessageType& Message)
    {
       auto MessageCheck = DispatcherType::ExtractData<CommandCheckConnection>(&Message);
       eprintf("[ CHECK CONNECTION MESSAGE ] \r\n");
    });

    Dispatcher->AppendCallback<CommandCloseConnection> ( [](MessageType& Message)
    {
       auto MessageClose = DispatcherType::ExtractData<CommandCloseConnection>(&Message);
       eprintf("[ CLOSE CONNECTION MESSAGE ] \r\n");
    });
}

/**
* @brief Function implementing the TaskControl thread.
* @param argument: Not used
* @retval None
*/
/* USER CODE END Header_RunTaskControl */
void RunTaskControl(void *argument)
{
  /* USER CODE BEGIN RunTaskControl */
  /* Infinite loop */

  eprintf("[START CONTROl TASK] \r\n"); osDelay(2);
  printfRegisteredTypes();
  initProcessingCommand();
  CanConnectionInterface connectionCan(&hfdcan1);
  CommandCheckConnection commandCheck;

  connectionCan.exposeFlagTransmission(FlagSwitrchersCAN);

  //HAL_TIM_Base_Start_IT(&htim1);
  //HAL_TIM_Base_Start_IT(&htim6);
  //===============================================================
       MessagePositionState DevicePosition;
  MessageInternalMonitoring MessageMonitoring;

  DispatcherType Dispatcher; InitMessageProcessing(&Dispatcher);
            ConnectionRemote.InitModule();
  //===============================================================
  MessageGeneric<MessagePositionState, HEADER_TYPE> MessagePosition;

  DeviceADC1.SetModeReady();
  DeviceADC2.SetModeReady();

  //DeviceADC1.SetModeContinous(true);
  //DeviceADC2.SetModeContinous(true);

  //DAC_SinusGenerateTest();
    //ADCTest();

  eprintf("[ CAN ECHO WORK ]");
  while(true)
  {
//	  ConnectionRemote.GetIncommingMessages();
//	 *ConnectionRemote.RingBufferMessages | Dispatcher;
//    ConnectionRemote.SendPendingMessage();

    //void sendData(uint8_t ID, uint8_t Size, uint8_t* Data)
	//connectionCan.sendData(TypeRegister<CommandCheckConnection>::GetTypeID(), sizeof(CommandCheckConnection),(uint8_t*)(&commandCheck));
      connectionCan.receiveData();

    osDelay(1000);
    //ModuleDelayMeasureConnection.MeasureClosedLoopDelay();
    //ModuleDelayMeasureControlLoop.MeasureClosedLoopDelay();
    //osDelay(1);
  }

	//MessageMonitoring.Param1 = AimingControlCommand.Channel1.Position;
	//osMessageQueuePut(QueueMonitoringHandle, &MessageMonitoring, 0, 0);
  /* USER CODE END RunTaskControl */
}

void RunTaskMeasure(void *argument)
{
  /* USER CODE BEGIN RunTaskMeasure */
  osDelay(20);
  eprintf("[RUN TASK MEASURE] \r\n");

  ModuleResponceMeasure.InitModule();

  CommandCalibration Command;

  FLAG_MEASURE_THREAD_SUSPEND = true; osThreadSuspend(TaskMeasureHandle);
  for(;;)
  {
      if(osMessageQueueGetCount(QueueMessageCalibrationHandle) != 0)
      {
	     osMessageQueueGet(QueueMessageCalibrationHandle, &Command, 0, 0);
	     Command >> ModuleResponceMeasure;
      }

      if(ModuleResponceMeasure.STATE_IDLE)
      {
       eprintf("MEASURE TASK SUSPEND \r\n");
       FLAG_MEASURE_THREAD_SUSPEND = true;
       osThreadSuspend(TaskMeasureHandle);
      }
      osDelay(1);

  }

  /* USER CODE END RunTaskMeasure */
}

void HAL_TIM_PeriodElapsedCallback(TIM_HandleTypeDef *htim)
{
  if (htim->Instance == TIM7)
  {
    HAL_IncTick();
  }
  /* USER CODE BEGIN Callback 1 */
  if (htim->Instance == TIM1) {
    TimerMicrosecondsTickISR();
  }

  if (htim->Instance == TIM6)
  {
    TimerControlDirectISR();
    //TimerAimingInterpolateISR();
    //TimerAimingProlongISR();
    //TimerAimingLoopISR();
    //MeasurePeriodWorkTimer();
  }

  /* USER CODE END Callback 1 */
}

void Error_Handler(void)
{
  __disable_irq();
  while (1)
  {
  }
}
